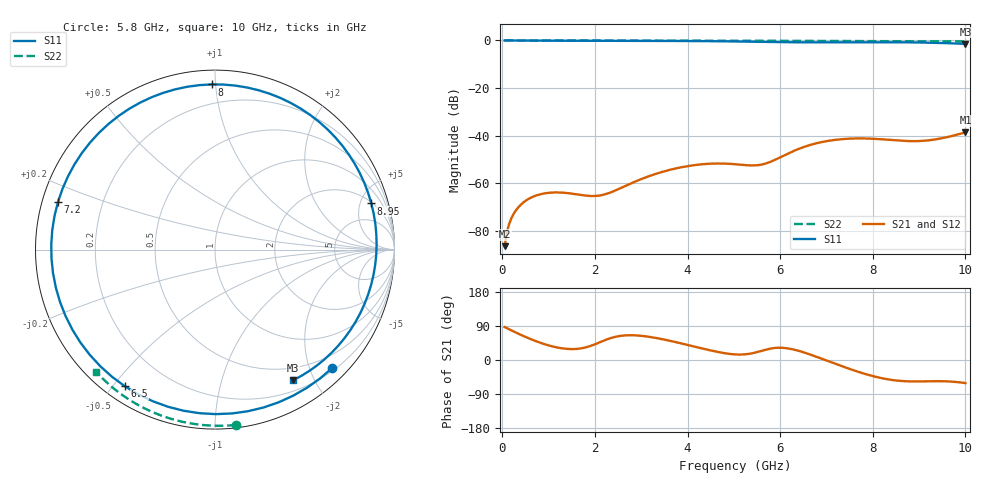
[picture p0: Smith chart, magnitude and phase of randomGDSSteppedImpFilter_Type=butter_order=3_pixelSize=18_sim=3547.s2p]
! freq	dB(S11)	phase(S11)	dB(S12)	phase(S12)
!  dB(S21)	phase(S21)	dB(S22)	phase(S22)
!S-par simulation data
#  GHz  S  DB  R 50
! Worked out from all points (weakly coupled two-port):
!   200 points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, 50 MHz to 10 GHz, reference 50 ohm
!   highest |S21| = -38.68 dB at 10 GHz (marker M1); lowest = -86.5 dB at 50 MHz (marker M2)
!   lowest |S11| = -1.4 dB at 10 GHz (marker M3), VSWR 12.18, Z = 16.5 - j85.8 ohm
!   |S11| at or under -10 dB: nowhere
!   |S22| runs from -0.5 to 0.0 dB; largest |S21 - S12| = 0
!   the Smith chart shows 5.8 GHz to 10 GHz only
!   S11 on the Smith chart (normalised r, x): 5.8 GHz: 0.25, -2.36; 6.5 GHz: 0.06, -0.54; 7.2 GHz: 0.05, +0.15; 8 GHz: 0.08, +0.98; 8.95 GHz: 2.11, +6.21; 10 GHz: 0.33, -1.72
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0.05  -0.00 -5.4  -86.55 86.9  -86.55 86.9  -0.00 -0.8
0.4  -0.05 -41.7  -69.09 66.4  -69.09 66.4  -0.01 -6.2
0.8  -0.09 -78.9  -64.82 46.4  -64.82 46.4  -0.02 -12.3
1.2  -0.11 -110.3  -63.95 32.7  -63.95 32.7  -0.02 -18.4
1.75  -0.13 -145.7  -65.15 31.8  -65.15 31.8  -0.03 -26.6
2.55  -0.15 172.1  -62.17 63.6  -62.17 63.6  -0.05 -38.5
3.4  -0.19 130.2  -55.61 56.3  -55.61 56.3  -0.07 -50.7
4.3  -0.27 80.2  -52.11 30.9  -52.11 30.9  -0.09 -63.3
4.7  -0.34 53.3  -51.76 20.1  -51.76 20.1  -0.10 -68.7
5.05  -0.42 26.2  -52.11 14.6  -52.11 14.6  -0.11 -73.4
5.45  -0.54 -9.7  -52.56 19.2  -52.56 19.2  -0.13 -78.7
5.8  -0.65 -45.5  -50.99 30.3  -50.99 30.3  -0.14 -83.2
6.15  -0.75 -84.1  -47.76 30.9  -47.76 30.9  -0.15 -87.7
6.5  -0.80 -123.4  -44.90 20.5  -44.90 20.5  -0.17 -92.1
6.7  -0.81 -145.4  -43.67 12.2  -43.67 12.2  -0.18 -94.6
7.2  -0.78 163.2  -41.79 -10.5  -41.79 -10.5  -0.21 -100.8
7.6  -0.74 125.8  -41.24 -27.7  -41.24 -27.7  -0.24 -105.7
8  -0.72 91.1  -41.35 -42.4  -41.35 -42.4  -0.26 -110.5
8.35  -0.73 62.6  -41.81 -51.5  -41.81 -51.5  -0.29 -114.7
8.95  -0.84 16.5  -42.35 -56.6  -42.35 -56.6  -0.34 -121.8
9.45  -1.05 -20.0  -41.29 -55.9  -41.29 -55.9  -0.39 -127.7
10  -1.43 -59.1  -38.68 -60.9  -38.68 -60.9  -0.45 -134.1
